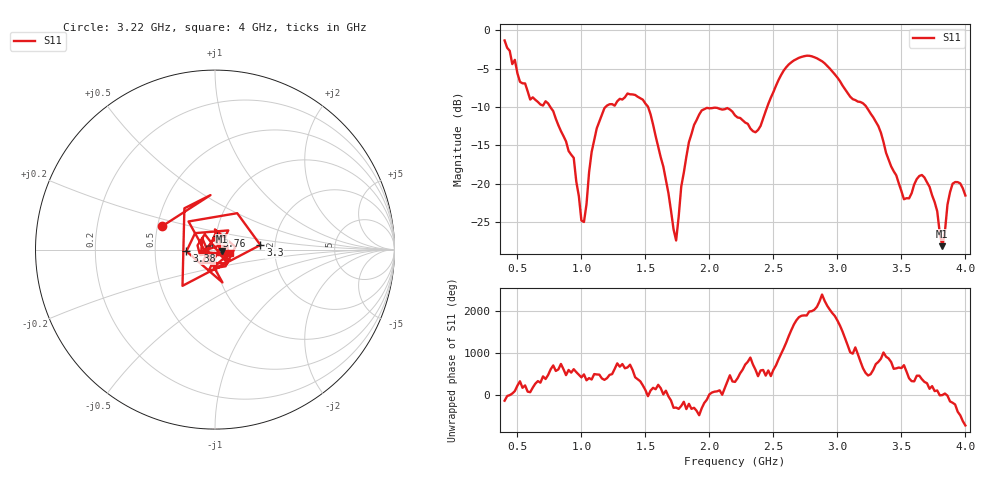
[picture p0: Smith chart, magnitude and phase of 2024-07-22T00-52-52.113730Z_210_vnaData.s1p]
!Created with skrf (http://scikit-rf.org).
# Hz S RI R 50.0
!freq ReS11 ImS11
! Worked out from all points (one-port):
!   181 points, 400 MHz to 4 GHz, reference 50 ohm
!   lowest |S11| = -28.1 dB at 3.82 GHz (marker M1), VSWR 1.08, Z = 54 - j0.85 ohm
!   |S11| at or under -10 dB: 757.3 MHz to 1.188 GHz (431 MHz wide, 44.3 % of centre); 1.521 GHz to 2.451 GHz (930.2 MHz wide, 46.8 % of centre); 3.227 GHz to end of sweep
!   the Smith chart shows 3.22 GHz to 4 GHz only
!   S11 on the Smith chart (normalised r, x): 3.22 GHz: 0.53, +0.15; 3.3 GHz: 1.67, +0.09; 3.38 GHz: 0.73, -0.01; 3.76 GHz: 1.01, +0.15; 4 GHz: 1.18, -0.05
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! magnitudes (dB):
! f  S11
! 400 MHz  -1.3
! 600 MHz  -9.0
! 740 MHz  -9.5
! 860 MHz  -13.8
! 940 MHz  -16.6
! 1 GHz  -24.8
! 1.02 GHz  -25.0
! 1.12 GHz  -12.8
! 1.3 GHz  -8.9
! 1.52 GHz  -9.9
! 1.74 GHz  -27.4
! 1.76 GHz  -24.3
! 1.84 GHz  -14.6
! 1.92 GHz  -11.0
! 2.2 GHz  -11.1
! 2.38 GHz  -13.0
! 2.66 GHz  -3.9
! 2.88 GHz  -4.0
! 3.1 GHz  -8.7
! 3.22 GHz  -9.8
! 3.3 GHz  -11.9
! 3.38 GHz  -15.9
! 3.56 GHz  -21.9
! 3.66 GHz  -18.8
! 3.76 GHz  -22.4
! 3.82 GHz  -28.1
! 3.9 GHz  -20.0
! 4 GHz  -21.5
